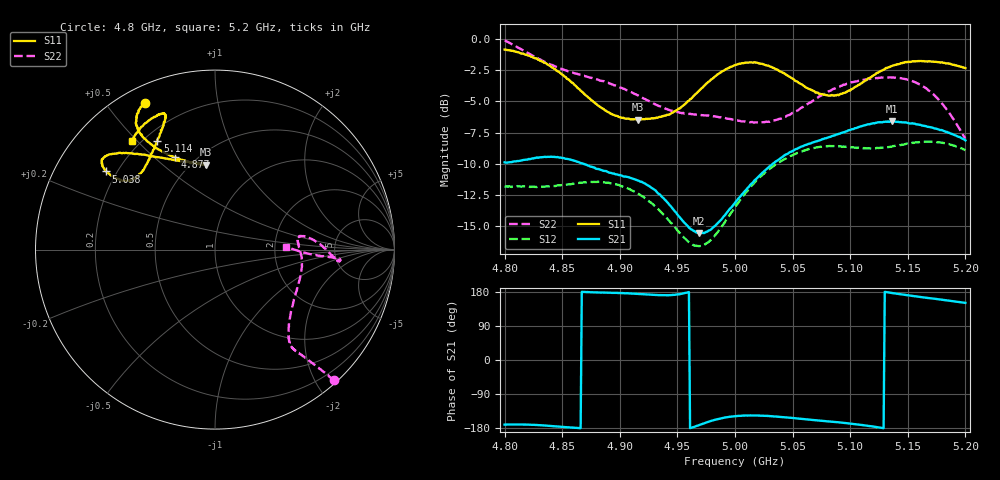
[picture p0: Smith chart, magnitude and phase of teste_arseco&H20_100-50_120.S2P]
! Network Analyzer HP8722D
! Hewlett-Packard
! Data name: Linha & Wilkinson
! Saver's name: Rodrigo Anjos
! Comments: Teste da utilização de aquisição
! continua pelo VNA HP8722D
! Time and date: 6/5/2025 13:34
!  Frequency  S11  S21  S12  S22
# HZ  S  MA R 50
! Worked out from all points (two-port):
!   401 points, 4.8 GHz to 5.2 GHz, reference 50 ohm
!   highest |S21| = -6.60 dB at 5.136 GHz (marker M1); lowest = -15.5 dB at 4.969 GHz (marker M2)
!   |S21| within 3 dB of the highest: 4.823 GHz to 4.854 GHz (31.83 MHz wide, 0.658 % of centre); 5.039 GHz to end of sweep (the widest 2 of 3)
!   lowest |S11| = -6.5 dB at 4.916 GHz (marker M3), VSWR 2.81, Z = 29.1 + j35.6 ohm
!   |S11| at or under -10 dB: nowhere
!   |S22| runs from -8.0 to -0.1 dB; largest |S21 - S12| = 0.83
!   S11 on the Smith chart (normalised r, x): 4.8 GHz: 0.07, +0.63; 4.877 GHz: 0.39, +0.59; 5.038 GHz: 0.16, +0.31; 5.114 GHz: 0.25, +0.57; 5.2 GHz: 0.17, +0.48
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4.8e9  0.906 115.7  0.3209 -170.6  0.2571 -86.1  0.9852 -47.6
4.833e9  0.811 122.3  0.3366 -172.4  0.2561 -77.3  0.8163 -49.7
4.849e9  0.7246 122.2  0.3351 -176.3  0.26 -71.9  0.7594 -50.5
4.867e9  0.6151 118.0  0.3181 179.9  0.2658 -67.3  0.7161 -51.5
4.877e9  0.5605 113.3  0.3062 178.7  0.2678 -66.3  0.6949 -51.8
4.9e9  0.4861 101.2  0.2853 176.9  0.259 -66.5  0.6394 -50.2
4.916e9  0.4757 96.3  0.271 174.2  0.2402 -68.4  0.5937 -46.0
4.934e9  0.4869 99.0  0.2397 171.1  0.2071 -69.5  0.5384 -37.5
4.948e9  0.5132 107.9  0.2036 172.1  0.1761 -66.6  0.5108 -28.4
4.969e9  0.6212 123.3  0.167 -171.6  0.1482 -48.1  0.4978 -15.1
4.981e9  0.6968 130.1  0.1762 -159.3  0.1603 -34.2  0.4901 -8.8
5e9  0.7854 137.3  0.2209 -148.4  0.2128 -21.5  0.4738 -0.4
5.019e9  0.8034 141.8  0.2771 -146.5  0.2723 -18.4  0.4632 5.9
5.038e9  0.7465 144.3  0.3291 -149.6  0.3208 -18.5  0.478 8.8
5.067e9  0.6217 141.9  0.3847 -158.1  0.3655 -20.6  0.5628 4.6
5.088e9  0.5941 133.2  0.4145 -163.8  0.3716 -23.8  0.6376 -1.7
5.114e9  0.6836 118.0  0.4533 -173.1  0.3647 -26.6  0.6884 -5.3
5.134e9  0.7711 111.2  0.4651 177.9  0.3697 -28.7  0.701 -4.8
5.136e9  0.7784 110.8  0.4675 176.9  0.3704 -29.1  0.7008 -4.7
5.149e9  0.807 110.5  0.4623 171.1  0.3809 -31.6  0.6886 -4.0
5.165e9  0.8123 113.7  0.4476 164.7  0.3881 -36.3  0.6386 -3.8
5.2e9  0.7639 127.4  0.3927 150.8  0.3587 -46.3  0.3983 2.4
